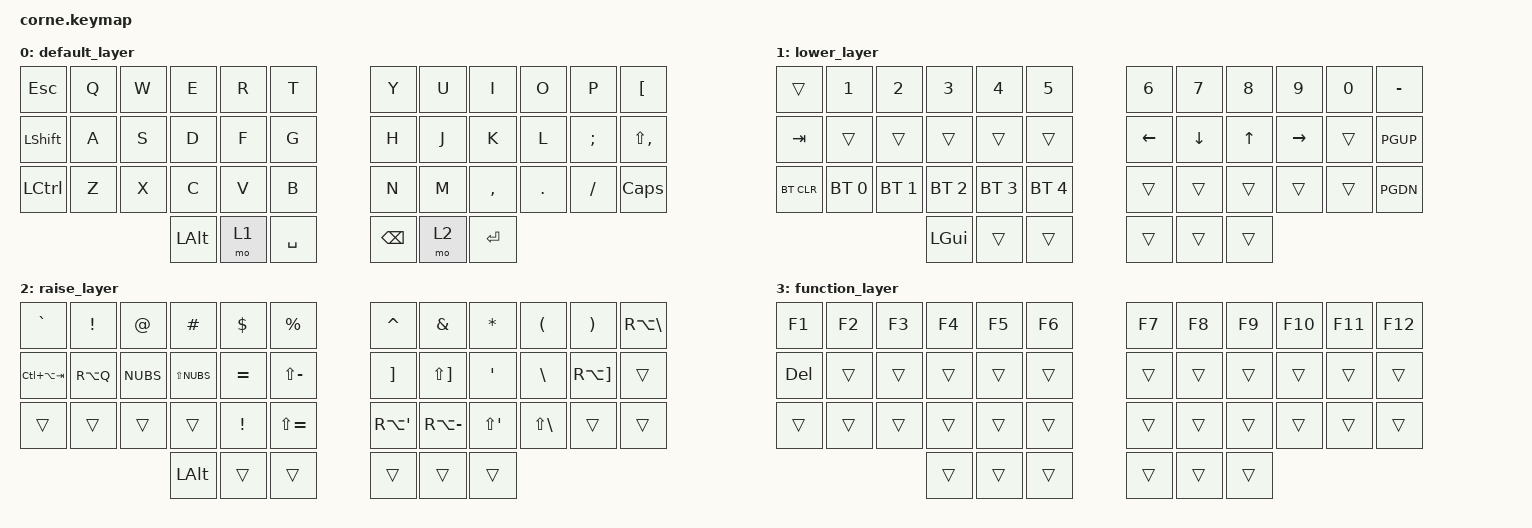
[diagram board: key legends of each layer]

/*
 * Copyright (c) 2020 The ZMK Contributors
 * SPDX-License-Identifier: MIT
 *
 * Teclado   : Corne Wireless (crkbd)
 * Controller: Nice Nano v2
 * Layout SO : Latinoamericano (latam) — es_MX
 *
 * ⚠️  IMPORTANTE — Layout del Sistema Operativo
 * Este keymap está diseñado para funcionar con el layout "latam".
 * Verifica con:  localectl status  → debe mostrar X11 Layout: latam
 * En Windows selecciona "Español (México)" o "Latinoamericano".
 *
 * ════════════════════════════════════════════════════════════════
 *  Traducción ANSI US → latam (keycodes que cambian de significado)
 * ════════════════════════════════════════════════════════════════
 *
 *  Tecla física        ZMK keycode     latam produce
 *  ─────────────────────────────────────────────────
 *  -  (ANSI MINUS)   MINUS           '    (apóstrofo)
 *  =  (ANSI EQUAL)   EQUAL           ¡
 *  [  (ANSI LBKT)    LBKT            ´    (acento)
 *  ]  (ANSI RBKT)    RBKT            +
 *  \  (ANSI BSLH)    BSLH            }
 *  ;  (ANSI SEMI)    SEMI            ñ
 *  '  (ANSI SQT)     SQT             {
 *  /  (ANSI FSLH)    FSLH            -
 *  <> (ISO NUBS)     NUBS            <
 *
 *  Con Shift:
 *  ─────────────────────────────────────────────────
 *  LS(N2)            @  →            "
 *  LS(N6)            ^  →            &
 *  LS(N7)            &  →            /
 *  LS(N8)            *  →            (
 *  LS(N9)            (  →            )
 *  LS(N0)            )  →            =
 *  LS(MINUS)         _  →            ?
 *  LS(EQUAL)         +  →            ¿
 *  LS(RBKT)          }  →            *
 *  LS(BSLH)          |  →            ]
 *  LS(SQT)           "  →            [
 *  LS(FSLH)          ?  →            _
 *  LS(COMMA)         <  →            ;
 *  LS(DOT)           >  →            :
 *  LS(NUBS)          >  →            >
 *
 *  Con AltGr — RA():
 *  ─────────────────────────────────────────────────
 *  RA(Q)             →               @
 *  RA(N1)            →               |
 *  RA(N3)            →               #
 *  RA(N6)            →               ^
 *  RA(LBKT)          →               `  (backtick)
 *  RA(RBKT)          →               ~
 *  RA(MINUS)         →               \
 * ════════════════════════════════════════════════════════════════
 */
#include <behaviors.dtsi>
#include <dt-bindings/zmk/keys.h>
#include <dt-bindings/zmk/bt.h>

/ {

conditional_layers {
        compatible = "zmk,conditional-layers";

        tri_layer {
            if-layers = <1 2>;
            then-layer = <3>;
        };
    };

    keymap {
        compatible = "zmk,keymap";

        default_layer {
            //SPANISH ISO DISTRIBUTION
            // --------------------------------------   ------------------------------------------------
            // |  ESC |  Q  |  W  |  E  |  R  |  T  |   |  Y   |  U   |  I  |  O  |  P  |  ´           |
            // | SHFT |  A  |  S  |  D  |  F  |  G  |   |  H   |  J   |  K  |  L  |  ñ  |  ;           |
            // | CTRL |  Z  |  X  |  C  |  V  |  B  |   |  N   |  M   |  ,  |  .  |  -  | BLOCK MAYUS  |
            //                    | ALT | LWR | SPC |   | BKSP | RSE  | ENT |
            //ANSI ENGLISH DISTRIBUTION
            // --------------------------------------   ------------------------------------------------
            // |  ESC |  Q  |  W  |  E  |  R  |  T  |   |  Y   |  U   |  I  |  O  |  P  |  {   |
            // | SHFT |  A  |  S  |  D  |  F  |  G  |   |  H   |  J   |  K  |  L  | ;   | S(,) |
            // | CTRL |  Z  |  X  |  C  |  V  |  B  |   |  N   |  M   |  ,  |  .  |  /  |      |
            //                    | ALT | LWR | SPC |   | BKSP | RSE  | ENT |
            bindings = <
                &kp ESC    &kp Q   &kp W     &kp E    &kp R        &kp T    &kp Y    &kp U    &kp I     &kp O   &kp P     &kp LBKT
                &kp LSHFT  &kp A   &kp S     &kp D    &kp F        &kp G    &kp H    &kp J    &kp K     &kp L   &kp SEMI  &kp LS(COMMA)
                &kp LCTRL  &kp Z   &kp X     &kp C    &kp V        &kp B    &kp N    &kp M    &kp COMMA &kp DOT &kp FSLH  &kp CAPS
                                   &kp LALT  &mo 1    &kp SPACE    &kp BSPC &mo 2    &kp RET  
            >;
        };

        lower_layer {
            // --------------------------------------   --------------------------------------
            // |      |  1  |  2  |  3  |  4  |  5  |   |  6  |  7  |  8  |  9  |  0  |   '  |
            // |TAB   |     |     |     |     |     |   | LFT | DWN |  UP | RGT |     | PGUP |
            // |      |     |     |     |     |     |   |     |     |     |     |     | PGDN |
            //                    | GUI |     | SPC |   |BKSP |     | ENT |
            // --------------------------------------   --------------------------------------
            // |      |  1  |  2  |  3  |  4  |  5  |   |  6  |  7  |  8  |  9  |  0  |   -  |
            // |TAB   |     |     |     |     |     |   | LFT | DWN |  UP | RGT |     |      |
            // |      |     |     |     |     |     |   |     |     |     |     |     |      |
            //                    | GUI |     | SPC |   |BKSP |     | ENT |
            bindings = <
                &trans     &kp N1       &kp N2       &kp N3       &kp N4       &kp N5          &kp N6   &kp N7   &kp N8  &kp N9     &kp N0  &kp MINUS
                &kp TAB    &trans       &trans       &trans       &trans       &trans          &kp LEFT &kp DOWN &kp UP  &kp RIGHT  &trans  &kp PGUP 
                &bt BT_CLR &bt BT_SEL 0 &bt BT_SEL 1 &bt BT_SEL 2 &bt BT_SEL 3 &bt BT_SEL 4    &trans   &trans   &trans  &trans     &trans  &kp PGDN 
                                        &kp LGUI &trans  &trans   &trans   &trans   &trans 
            >;
        };

        raise_layer {
            // -------------------------------------------   -----------------------------------------
            // |   |       |  !  |  "  |  #  |  $  |  %  |   |  &  |  /  |  (  |  )  |  =      |  `  |
            // | C(A(TAB)) |  @  |  <  |  >  |  ¿  |  ?  |   |  +  |  *  |  {  |  }  |  ~      |     |
            // |           |     |     |     |  ¡  |  !  |   |  ^  |  \  |  [  |  ]  |         |     |
            //                         | GUI |     | SPC |   | BKSP |     | ENT |
            // -------------------------------------------   -----------------------------------------
            // |     `    |  !      |  @  |  #    |  $      |  %      |   |  ^        |  &      |  *   |  (   |  )  |  C(A(\)) |
            // |C(A(TAB)) | RA(Q)   | NUBS|S(NUBS)|  =      |  S(-)   |   |  }        | S(})    |  "   |  \    RA(-)|          |
            // |          |         |     |       | !       |  S(+)   |   | RA(")     | RA(-)   | S(") | S(\) |     |          |
            //                        | ALT   |         | SPC     |   | BKSP      |         | ENT  |
            bindings = <
                &kp GRAVE       &kp EXCL        &kp AT     &kp HASH      &kp DLLR      &kp PRCNT             &kp CARET       &kp AMPS          &kp ASTRK   &kp LPAR     &kp RPAR         &kp RA(BSLH)
                &kp LC(LA(TAB)) &kp RA(Q)       &kp NUBS   &kp LS(NUBS)  &kp EQUAL     &kp LS(MINUS)         &kp RBKT        &kp LS(RBKT)      &kp SQT     &kp BSLH     &kp RA(RBKT)     &trans
                &trans          &trans          &trans     &trans        &kp EXCL      &kp LS(EQUAL)         &kp RA(SQT)    &kp RA(MINUS)     &kp LS(SQT) &kp LS(BSLH) &trans           &trans
                                                &kp LALT   &trans        &trans        &trans                &trans            &trans
            >;
        };


        function_layer {
            bindings = <
                &kp F1  &kp F2  &kp F3  &kp F4  &kp F5  &kp F6     &kp F7  &kp F8  &kp F9  &kp F10  &kp F11  &kp F12
                &kp DEL  &trans  &trans  &trans  &trans  &trans     &trans  &trans  &trans  &trans  &trans   &trans
                &trans  &trans  &trans  &trans  &trans  &trans     &trans  &trans  &trans  &trans  &trans   &trans
                                &trans  &trans  &trans              &trans  &trans  &trans
            >;
        };
    };
};
